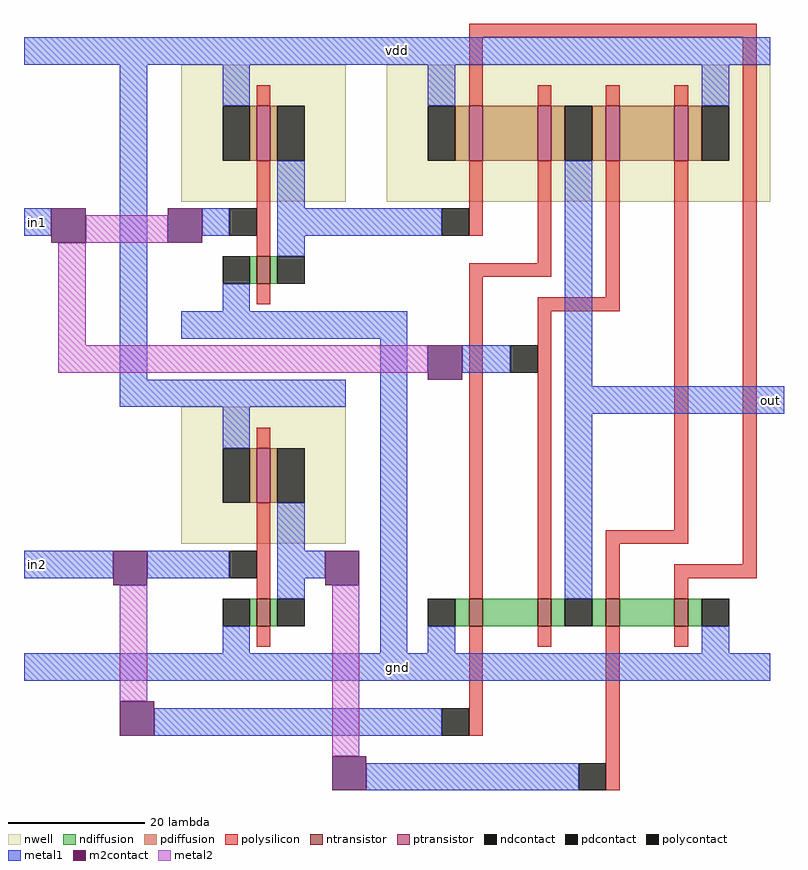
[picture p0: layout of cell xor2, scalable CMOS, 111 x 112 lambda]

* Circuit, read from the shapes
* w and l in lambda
.subckt xor2 gnd in1 in2 out vdd
M1 n1 in2 gnd VSUBS nfet w=4 l=2
M2 n2 in1 gnd VSUBS nfet w=4 l=2
M3 n3 in2 gnd VSUBS nfet w=4 l=2
M4 out in1 n3 VSUBS nfet w=4 l=2
M5 n4 n1 out VSUBS nfet w=4 l=2
M6 gnd n2 n4 VSUBS nfet w=4 l=2
M7 n1 in2 vdd n5 pfet w=8 l=2
M8 n2 in1 vdd n6 pfet w=8 l=2
M9 n7 n2 vdd n8 pfet w=8 l=2
M10 out in2 n7 n8 pfet w=8 l=2
M11 n9 in1 out n8 pfet w=8 l=2
M12 vdd n1 n9 n8 pfet w=8 l=2
.ends

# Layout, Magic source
magic
tech scmos
<< nwell >>
rect 2 0 26 20
rect 32 0 88 20
rect 2 -50 26 -30
<< ntransistor >>
rect 13 -12 15 -8
rect 13 -62 15 -58
rect 44 -62 46 -58
rect 54 -62 56 -58
rect 64 -62 66 -58
rect 74 -62 76 -58
<< ptransistor >>
rect 13 6 15 14
rect 44 6 46 14
rect 54 6 56 14
rect 64 6 66 14
rect 74 6 76 14
rect 13 -44 15 -36
<< ndiffusion >>
rect 12 -12 13 -8
rect 15 -12 16 -8
rect 12 -62 13 -58
rect 15 -62 16 -58
rect 42 -62 44 -58
rect 46 -62 54 -58
rect 56 -62 58 -58
rect 62 -62 64 -58
rect 66 -62 74 -58
rect 76 -62 78 -58
<< pdiffusion >>
rect 12 6 13 14
rect 15 6 16 14
rect 42 6 44 14
rect 46 6 54 14
rect 56 6 58 14
rect 62 6 64 14
rect 66 6 74 14
rect 76 6 78 14
rect 12 -44 13 -36
rect 15 -44 16 -36
<< ndcontact >>
rect 8 -12 12 -8
rect 16 -12 20 -8
rect 8 -62 12 -58
rect 16 -62 20 -58
rect 38 -62 42 -58
rect 58 -62 62 -58
rect 78 -62 82 -58
<< pdcontact >>
rect 8 6 12 14
rect 16 6 20 14
rect 38 6 42 14
rect 58 6 62 14
rect 78 6 82 14
rect 8 -44 12 -36
rect 16 -44 20 -36
<< polysilicon >>
rect 44 24 86 26
rect 13 14 15 17
rect 44 14 46 24
rect 54 14 56 17
rect 64 14 66 17
rect 74 14 76 17
rect 13 -8 15 6
rect 44 -5 46 6
rect 54 -9 56 6
rect 44 -11 56 -9
rect 13 -15 15 -12
rect 13 -36 15 -33
rect 13 -58 15 -44
rect 44 -58 46 -11
rect 64 -14 66 6
rect 54 -16 66 -14
rect 54 -58 56 -16
rect 74 -48 76 6
rect 64 -50 76 -48
rect 64 -58 66 -50
rect 84 -53 86 24
rect 74 -55 86 -53
rect 74 -58 76 -55
rect 13 -65 15 -62
rect 44 -78 46 -62
rect 54 -65 56 -62
rect 64 -86 66 -62
rect 74 -65 76 -62
<< polycontact >>
rect 9 -5 13 -1
rect 40 -5 44 -1
rect 9 -55 13 -51
rect 50 -25 54 -21
rect 40 -78 44 -74
rect 60 -86 64 -82
<< metal1 >>
rect -21 20 88 24
rect -21 -5 -17 -1
rect -7 -26 -3 20
rect 8 14 12 20
rect 38 14 42 20
rect 78 14 82 20
rect 16 -1 20 6
rect 5 -5 9 -1
rect 16 -5 40 -1
rect 16 -8 20 -5
rect 8 -16 12 -12
rect 2 -20 35 -16
rect -7 -30 26 -26
rect 8 -36 12 -30
rect 16 -51 20 -44
rect -21 -55 -8 -51
rect -3 -55 9 -51
rect 16 -55 23 -51
rect 16 -58 20 -55
rect 8 -66 12 -62
rect 31 -66 35 -20
rect 43 -25 50 -21
rect 58 -27 62 6
rect 58 -31 90 -27
rect 58 -58 62 -31
rect 38 -66 42 -62
rect 78 -66 82 -62
rect -21 -70 88 -66
rect -2 -78 40 -74
rect 29 -86 60 -82
<< m2contact >>
rect -17 -6 -12 -1
rect 0 -6 5 -1
rect -8 -56 -3 -51
rect 23 -56 28 -51
rect 38 -26 43 -21
rect -7 -78 -2 -73
rect 24 -86 29 -81
<< metal2 >>
rect -12 -6 0 -2
rect -16 -21 -12 -6
rect -16 -25 38 -21
rect -7 -73 -3 -56
rect 24 -81 28 -56
<< labels >>
rlabel metal1 86 -31 90 -27 7 out
rlabel metal1 -21 -5 -17 -1 3 in1
rlabel metal1 -21 -55 -17 -51 3 in2
rlabel metal1 -21 -70 88 -66 1 gnd
rlabel metal1 -21 20 88 24 5 vdd
<< end >>
